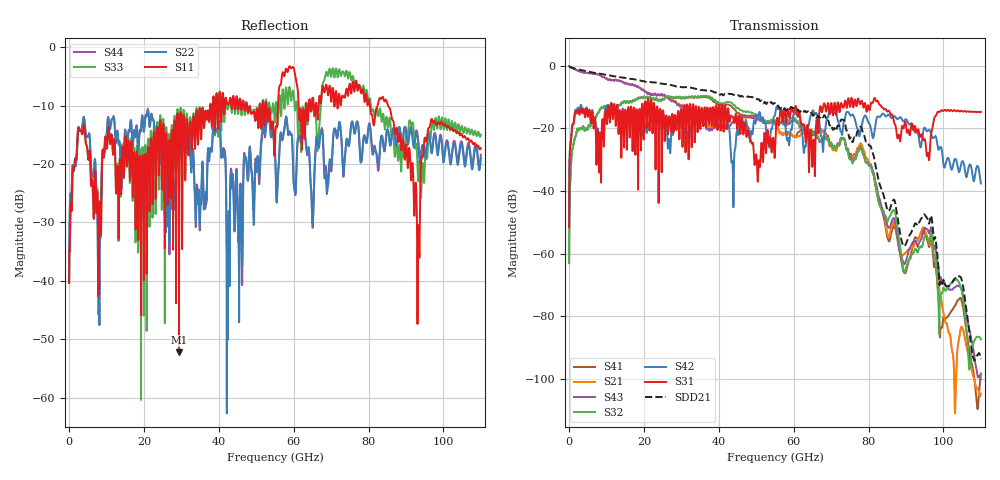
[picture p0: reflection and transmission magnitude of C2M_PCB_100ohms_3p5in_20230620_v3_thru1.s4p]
! Info: Touchstone file created by Circ.  Input file=C2M_PCB_100ohms_3p5in_20230620_v3.circ
# Hz S RI R 50
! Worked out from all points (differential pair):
!   11000 points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, 10 MHz to 110 GHz, reference 50 ohm
!   strongest paths, dB at 10 MHz, 27.51 GHz, 55.01 GHz, 82.51 GHz, 110 GHz:
!     S31: -51.5, -15.5, -27.6, -11.3, -14.7
!     S42: -51.4, -20.5, -15.6, -16.1, -37.6
!     S32: -63.1, -10.2, -17.4, -42.5, -87.4
!     S43: -0.1, -11.3, -17.7, -40.9, -100.2
!     S21: -0.1, -10.9, -18.3, -42.4, -104.8
!     S41: -63.1, -10.3, -18.5, -41.2, -98.4
!   taken as a pair (ports 3,1 in; 4,2 out), SDD21 dB: -0.1, -6.2, -12.0, -35.7, -93.8
!   lowest |S11| = -52.3 dB at 29.37 GHz (marker M1), VSWR 1.00, Z = 49.8 - j0.128 ohm
!   |S11| at or under -10 dB: start of sweep to 37.68 GHz; 47.55 GHz to 50.9 GHz (3.35 GHz wide, 6.81 % of centre); 85.18 GHz to end of sweep (the widest 3 of 24)
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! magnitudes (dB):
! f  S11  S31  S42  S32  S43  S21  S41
! 10 MHz  -40.3  -51.5  -51.4  -63.1  -0.1  -0.1  -63.1
! 2.52 GHz  -13.9  -14.5  -13.5  -20.5  -1.7  -1.7  -20.5
! 29.37 GHz  -52.3  -19.8  -19.4  -9.9  -12.4  -12.2  -10.0
! 42.48 GHz  -9.8  -13.5  -18.7  -11.5  -19.7  -19.2  -12.3
! 77.98 GHz  -7.8  -11.4  -20.2  -26.1  -26.2  -24.9  -25.0
! 89.48 GHz  -17.8  -19.2  -17.5  -66.1  -63.4  -60.1  -66.0
! 110 GHz  -17.3  -14.7  -37.6  -87.4  -100.2  -104.8  -98.4
